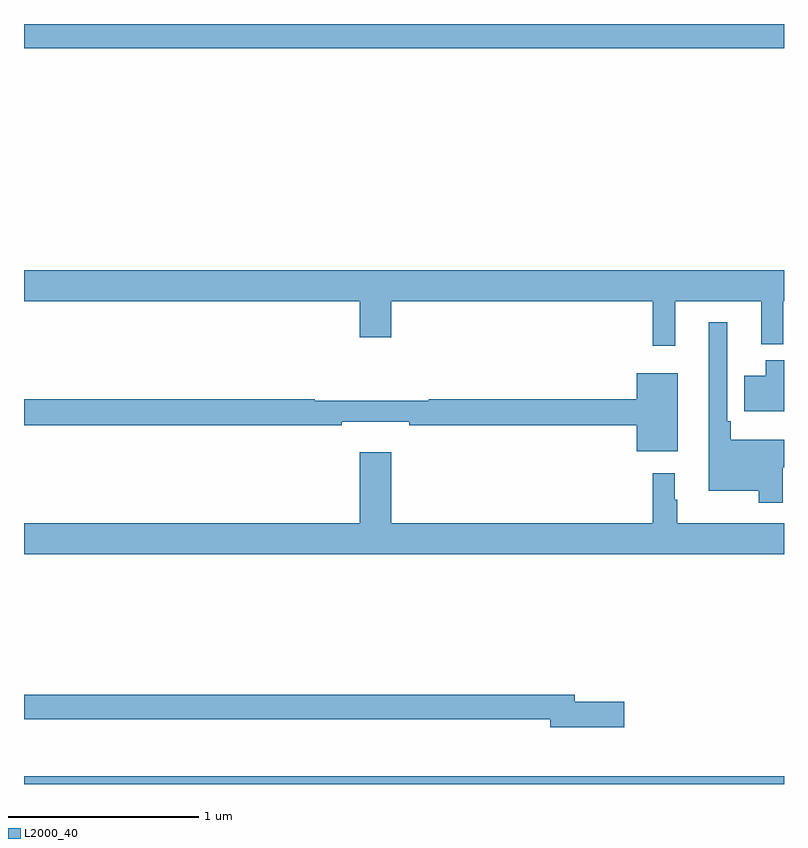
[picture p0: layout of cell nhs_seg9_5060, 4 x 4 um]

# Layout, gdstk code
import gdstk
lib = gdstk.Library(unit=1e-6, precision=1e-09)
def R(c, l, rs):  # rectangles x0, y0, x1, y1
    for r in rs: c.add(gdstk.rectangle(r[:2], r[2:], *l))
def P(c, l, *ps):  # polygons
    for p in ps: c.add(gdstk.Polygon(p, *l))
L2000_40 = (2000, 40)

nhs_seg9_5060 = lib.new_cell('nhs_seg9_5060')
R(nhs_seg9_5060, L2000_40, [(403,1240.5,407,1240.54), (403,1244.372,407,1244.5)])
P(nhs_seg9_5060, L2000_40, [(406.427,1243.04),(406.88,1243.04),(406.88,1242.815),(406.997,1242.815),(406.997,1243.04),(407,1243.04),(407,1243.204),(403,1243.204),(403,1243.04),(404.768,1243.04),(404.768,1242.852),(404.932,1242.852),(404.932,1243.04),(406.309,1243.04),(406.309,1242.807),(406.427,1242.807)],
  [(406.994,1242.166),(407,1242.166),(407,1242.313),(406.721,1242.313),(406.721,1242.409),(406.701,1242.409),(406.701,1242.931),(406.604,1242.931),(406.604,1242.044),(406.866,1242.044),(406.866,1241.979),(406.994,1241.979)],
  [(407,1242.73),(406.904,1242.73),(406.904,1242.649),(406.79,1242.649),(406.79,1242.461),(407,1242.461)],
  [(406.441,1242.661),(406.226,1242.661),(406.226,1242.524),(405.13,1242.524),(405.13,1242.517),(404.53,1242.517),(404.53,1242.524),(403,1242.524),(403,1242.388),(404.672,1242.388),(404.672,1242.407),(405.028,1242.407),(405.028,1242.388),(406.226,1242.388),(406.226,1242.251),(406.441,1242.251)],
  [(407,1241.872),(406.438,1241.872),(406.438,1241.996),(406.426,1241.996),(406.426,1242.136),(406.309,1242.136),(406.309,1241.872),(404.932,1241.872),(404.932,1242.247),(404.768,1242.247),(404.768,1241.872),(403,1241.872),(403,1241.708),(407,1241.708)],
  [(406.159,1240.934),(405.898,1240.934),(405.898,1240.97),(403,1240.97),(403,1240.842),(405.77,1240.842),(405.77,1240.799),(406.159,1240.799)])

lib.write_gds('nhs_seg9_5060.gds')
